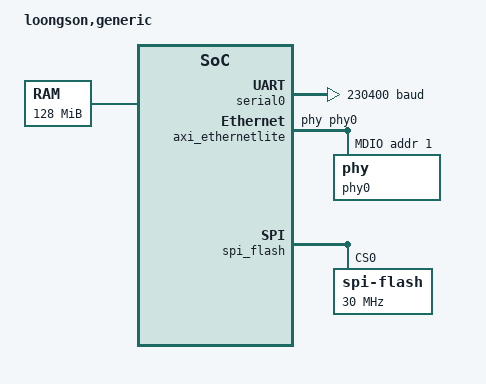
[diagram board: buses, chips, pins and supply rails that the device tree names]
/dts-v1/;

/ {
    model = "loongson,generic";
    compatible = "loongson,loongson3";
    #address-cells = <1>;
    #size-cells = <1>;

	ext: ext {
		compatible = "fixed-clock";
		#clock-cells = <0>;
	};
	
	memory: memory@0 {
		device_type = "memory";
		reg = <0x0 0x8000000>;
	};

	cpuintc: interrupt-controller {
	compatible = "loongson,cpu-interrupt-controller";
        interrupt-controller;
		#interrupt-cells = <1>;
	};

	bus_clk: bus_clk {
		compatible = "fixed-clock";
        clock-frequency = <100000000>;
		#clock-cells = <0>;
	};

	aliases {
		console = &serial0;
        serial = &serial0;
        eth = &axi_ethernetlite;
        mmc0 = &ocsdc0;
        spi0 = &spi_flash;
	};

	serial0: serial@bfe40000 {
		compatible = "ns16550a";
		reg = <0xbfe40000 0x1000>;
        reg-offset = <0>;
        reg-shift = <0>;
        clocks = <&bus_clk>;
        current-speed = <230400>;
        no-loopback-test;
	};

	ocsdc0: ocsdc@bfe10000 {
		compatible = "opencores,ocsdc";
		reg = <0xbfe10000 0x1000>;
        clocks = <&bus_clk>;
	};

	axi_ethernetlite: ethernet@bff00000 {
		compatible = "xlnx,xps-ethernetlite-1.00.a";
		device_type = "network";
		local-mac-address = [19 98 00 01 00 29];
		phy-handle = <&phy0>;
		reg = <0xbff00000 0x10000>;
		xlnx,duplex = <0x1>;
		xlnx,include-global-buffers = <0x1>;
		xlnx,include-internal-loopback = <0x0>;
		xlnx,include-mdio = <0x1>;
		xlnx,instance = "axi_ethernetlite_inst";
		xlnx,rx-ping-pong = <0x1>;
		xlnx,s-axi-id-width = <0x1>;
		xlnx,tx-ping-pong = <0x1>;
		xlnx,use-internal = <0x0>;
		mdio {
				#address-cells = <1>;
				#size-cells = <0>;
				phy0: phy@1 {
						device_type = "ethernet-phy";
						reg = <1>;
				} ;
		} ;
	};
    spi_flash: spi@bc040000 {
            #address-cells = <1>;
            #size-cells = <0>;
            compatible = "loongson,spi";
            reg = <0xbfe80000 0x1000>;
            clocks = <&bus_clk>;
            spi-flash@0 {
                compatible = "spi-flash", "jedec,spi-nor";
                reg = <0>;
                spi-max-frequency = <30000000>;
            };
    };
	//serial0: serial@0x1fe001e0 {
    //    compatible = "ns16550a";
    //    reg = < 0x1fe001e0  0x10>;
    //    clock-frequency = <33000000>;
    //    no-loopback-test;
    //};
};

